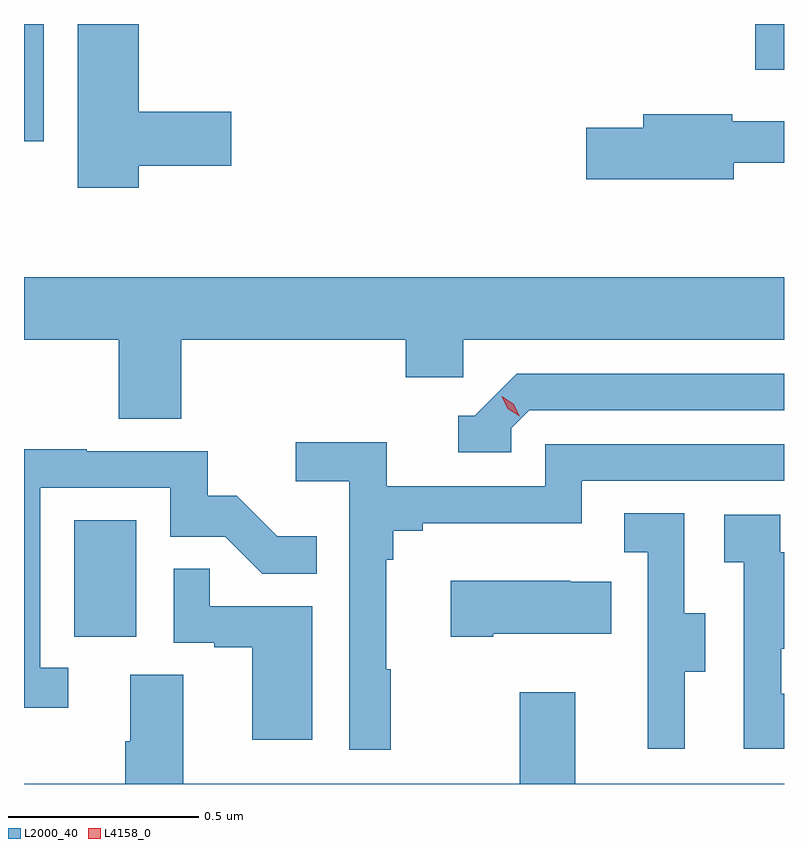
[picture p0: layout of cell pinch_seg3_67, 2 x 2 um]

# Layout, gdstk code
import gdstk
lib = gdstk.Library(unit=1e-6, precision=1e-09)
def R(c, l, rs):  # rectangles x0, y0, x1, y1
    for r in rs: c.add(gdstk.rectangle(r[:2], r[2:], *l))
def P(c, l, *ps):  # polygons
    for p in ps: c.add(gdstk.Polygon(p, *l))
L2000_40 = (2000, 40)
L4158_0 = (4158, 0)

pinch_seg3_67 = lib.new_cell('pinch_seg3_67')
R(pinch_seg3_67, L2000_40, [(1022.018,745.422,1022.182,745.729), (1021.886,746.727,1021.938,747.035), (1023.81,746.915,1023.886,747.035)])
P(pinch_seg3_67, L2000_40, [(1022.188,746.662),(1022.431,746.662),(1022.431,746.804),(1022.188,746.804),(1022.188,747.035),(1022.027,747.035),(1022.027,746.604),(1022.188,746.604)],
  [(1023.754,746.67),(1023.886,746.67),(1023.886,746.779),(1023.75,746.779),(1023.75,746.798),(1023.515,746.798),(1023.515,746.762),(1023.366,746.762),(1023.366,746.627),(1023.754,746.627)],
  [(1022.3,746.204),(1022.891,746.204),(1022.891,746.106),(1023.042,746.106),(1023.042,746.204),(1023.886,746.204),(1023.886,746.368),(1021.886,746.368),(1021.886,746.204),(1022.135,746.204),(1022.135,745.996),(1022.3,745.996)],
  [(1023.168,745.971),(1023.216,746.019),(1023.886,746.019),(1023.886,746.115),(1023.183,746.115),(1023.072,746.004),(1023.029,746.004),(1023.029,745.908),(1023.168,745.908)],
  [(1022.851,745.337),(1022.839,745.337),(1022.839,745.625),(1022.858,745.625),(1022.858,745.702),(1022.935,745.702),(1022.935,745.721),(1023.354,745.721),(1023.354,745.833),(1023.886,745.833),(1023.886,745.929),(1023.258,745.929),(1023.258,745.818),(1022.84,745.818),(1022.84,745.934),(1022.601,745.934),(1022.601,745.832),(1022.742,745.832),(1022.742,745.125),(1022.851,745.125)],
  [(1022.002,745.341),(1021.929,745.341),(1021.929,745.815),(1022.271,745.815),(1022.271,745.686),(1022.415,745.686),(1022.513,745.588),(1022.657,745.588),(1022.657,745.687),(1022.553,745.687),(1022.446,745.794),(1022.37,745.794),(1022.37,745.911),(1022.051,745.911),(1022.051,745.916),(1021.886,745.916),(1021.886,745.236),(1022.002,745.236)],
  [(1023.625,745.33),(1023.679,745.33),(1023.679,745.485),(1023.624,745.485),(1023.624,745.748),(1023.465,745.748),(1023.465,745.645),(1023.528,745.645),(1023.528,745.341),(1023.527,745.341),(1023.527,745.128),(1023.625,745.128)],
  [(1023.886,745.272),(1023.879,745.272),(1023.879,745.391),(1023.886,745.391),(1023.886,745.645),(1023.876,745.645),(1023.876,745.743),(1023.729,745.743),(1023.729,745.619),(1023.78,745.619),(1023.78,745.128),(1023.886,745.128)],
  [(1022.644,745.503),(1022.375,745.503),(1022.375,745.601),(1022.28,745.601),(1022.28,745.407),(1022.387,745.407),(1022.387,745.395),(1022.486,745.395),(1022.486,745.152),(1022.644,745.152)],
  [(1023.121,745.43),(1023.431,745.43),(1023.431,745.567),(1023.323,745.567),(1023.323,745.57),(1023.009,745.57),(1023.009,745.423),(1023.121,745.423)],
  [(1023.886,745.036),(1023.337,745.036),(1023.337,745.276),(1023.19,745.276),(1023.19,745.036),(1022.305,745.036),(1022.305,745.322),(1022.165,745.322),(1022.165,745.148),(1022.153,745.148),(1022.153,745.036),(1021.886,745.036),(1021.886,745.035),(1023.886,745.035)])
P(pinch_seg3_67, L4158_0, [(1023.19,746.003),(1023.159,746.023),(1023.143,746.055),(1023.143,746.056),(1023.143,746.056),(1023.174,746.036),(1023.19,746.003),(1023.19,746.003)])

lib.write_gds('pinch_seg3_67.gds')
